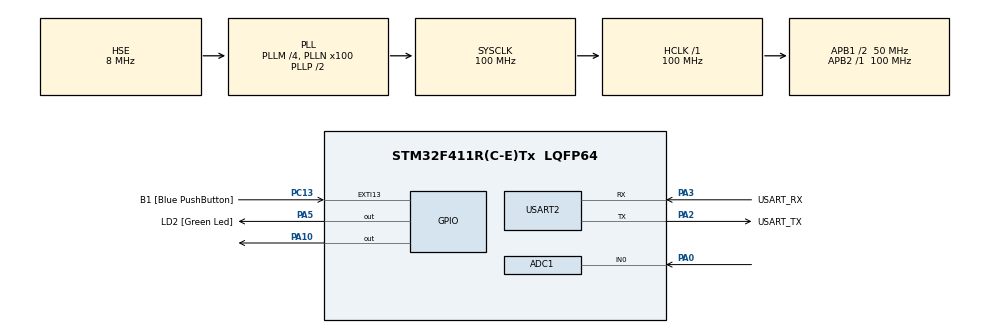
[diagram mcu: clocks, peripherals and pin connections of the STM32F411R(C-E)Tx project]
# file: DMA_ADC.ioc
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ADC1.Channel-2\#ChannelRegularConversion=ADC_CHANNEL_0
ADC1.ContinuousConvMode=ENABLE
ADC1.DMAContinuousRequests=ENABLE
ADC1.NbrOfConversionFlag=1
ADC1.Rank-2\#ChannelRegularConversion=1
ADC1.SamplingTime-2\#ChannelRegularConversion=ADC_SAMPLETIME_3CYCLES
ADC1.master=1
Dma.ADC1.1.Direction=DMA_PERIPH_TO_MEMORY
Dma.ADC1.1.FIFOMode=DMA_FIFOMODE_DISABLE
Dma.ADC1.1.Instance=DMA2_Stream0
Dma.ADC1.1.MemDataAlignment=DMA_MDATAALIGN_HALFWORD
Dma.ADC1.1.MemInc=DMA_MINC_ENABLE
Dma.ADC1.1.Mode=DMA_CIRCULAR
Dma.ADC1.1.PeriphDataAlignment=DMA_PDATAALIGN_HALFWORD
Dma.ADC1.1.PeriphInc=DMA_PINC_DISABLE
Dma.ADC1.1.Priority=DMA_PRIORITY_LOW
Dma.Request0=USART2_TX
Dma.Request1=ADC1
Dma.USART2_TX.0.Direction=DMA_MEMORY_TO_PERIPH
Dma.USART2_TX.0.FIFOMode=DMA_FIFOMODE_DISABLE
Dma.USART2_TX.0.Instance=DMA1_Stream6
Dma.USART2_TX.0.MemDataAlignment=DMA_MDATAALIGN_BYTE
Dma.USART2_TX.0.MemInc=DMA_MINC_ENABLE
Dma.USART2_TX.0.Mode=DMA_NORMAL
Dma.USART2_TX.0.PeriphDataAlignment=DMA_PDATAALIGN_BYTE
Dma.USART2_TX.0.PeriphInc=DMA_PINC_DISABLE
Dma.USART2_TX.0.Priority=DMA_PRIORITY_LOW
Mcu.Family=STM32F4
Mcu.Name=STM32F411R(C-E)Tx
Mcu.Package=LQFP64
NVIC.DMA1_Stream6_IRQn=true\:0\:0\:false\:false\:true\:false\:true\:true
NVIC.DMA2_Stream0_IRQn=true\:0\:0\:false\:false\:true\:false\:true\:true
NVIC.PriorityGroup=NVIC_PRIORITYGROUP_0
PA0-WKUP.Signal=ADCx_IN0
PA10.Signal=GPIO_Output
PA13.GPIO_Label=TMS
PA13.Mode=Serial_Wire
PA13.Signal=SYS_JTMS-SWDIO
PA14.GPIO_Label=TCK
PA14.Mode=Serial_Wire
PA14.Signal=SYS_JTCK-SWCLK
PA2.GPIO_Label=USART_TX
PA2.Mode=Asynchronous
PA2.Signal=USART2_TX
PA3.GPIO_Label=USART_RX
PA3.Mode=Asynchronous
PA3.Signal=USART2_RX
PA5.GPIO_Label=LD2 [Green Led]
PA5.Signal=GPIO_Output
PB3.GPIO_Label=SWO
PB3.Signal=SYS_JTDO-SWO
PC13-ANTI_TAMP.GPIO_Label=B1 [Blue PushButton]
PC13-ANTI_TAMP.GPIO_ModeDefaultEXTI=GPIO_MODE_IT_FALLING
PC13-ANTI_TAMP.Signal=GPXTI13
PC14-OSC32_IN.Signal=RCC_OSC32_IN
PC15-OSC32_OUT.Signal=RCC_OSC32_OUT
PH0\ -\ OSC_IN.Mode=HSE-External-Clock-Source
PH0\ -\ OSC_IN.Signal=RCC_OSC_IN
PH1\ -\ OSC_OUT.Mode=HSE-External-Clock-Source
PH1\ -\ OSC_OUT.Signal=RCC_OSC_OUT
ProjectManager.HeapSize=0x200
ProjectManager.StackSize=0x400
ProjectManager.TargetToolchain=STM32CubeIDE
RCC.48MHZClocksFreq_Value=50000000
RCC.AHBFreq_Value=100000000
RCC.APB1CLKDivider=RCC_HCLK_DIV2
RCC.APB1Freq_Value=50000000
RCC.APB1TimFreq_Value=100000000
RCC.APB2Freq_Value=100000000
RCC.APB2TimFreq_Value=100000000
RCC.CortexFreq_Value=100000000
RCC.FLatency-AdvancedSettings=FLASH_LATENCY_3
RCC.HCLKFreq_Value=100000000
RCC.HSE_VALUE=8000000
RCC.HSI_VALUE=16000000
RCC.PLLM=4
RCC.PLLN=100
RCC.PLLSourceVirtual=RCC_PLLSOURCE_HSE
RCC.SYSCLKFreq_VALUE=100000000
RCC.SYSCLKSource=RCC_SYSCLKSOURCE_PLLCLK
RCC.VCOOutputFreq_Value=200000000
SH.ADCx_IN0.0=ADC1_IN0,IN0
USART2.VirtualMode=VM_ASYNC
board=NUCLEO-F411RE

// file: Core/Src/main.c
/* USER CODE BEGIN Header */
/**
  ******************************************************************************
  * @file           : main.c
  * @brief          : Main program body
  ******************************************************************************
  * @attention
  *
  * Copyright (c) 2024 STMicroelectronics.
  * All rights reserved.
  *
  * This software is licensed under terms that can be found in the LICENSE file
  * in the root directory of this software component.
  * If no LICENSE file comes with this software, it is provided AS-IS.
  *
  ******************************************************************************
  */
/* USER CODE END Header */
#include "main.h"

/* USER CODE BEGIN Includes */

#include "string.h"
#include "stdio.h"

/* USER CODE END Includes */

/* USER CODE BEGIN PD */

#define ADC_BUF_LEN 4096

/* USER CODE END PD */

ADC_HandleTypeDef hadc1;
DMA_HandleTypeDef hdma_adc1;

UART_HandleTypeDef huart2;
DMA_HandleTypeDef hdma_usart2_tx;

/* USER CODE BEGIN PV */

uint16_t adc_buf[ADC_BUF_LEN];

/* USER CODE END PV */

void SystemClock_Config(void);
static void MX_GPIO_Init(void);
static void MX_DMA_Init(void);
static void MX_USART2_UART_Init(void);
static void MX_ADC1_Init(void);

int main(void)
{

  /* USER CODE BEGIN 1 */

	uint16_t raw;
	char msg[10];

  /* USER CODE END 1 */

  /* MCU Configuration--------------------------------------------------------*/

  /* Reset of all peripherals, Initializes the Flash interface and the Systick. */
  HAL_Init();

  /* Configure the system clock */
  SystemClock_Config();

  /* Initialize all configured peripherals */
  MX_GPIO_Init();
  MX_DMA_Init();
  MX_USART2_UART_Init();
  MX_ADC1_Init();
  /* USER CODE BEGIN 2 */

  HAL_ADC_Start_DMA(&hadc1, (uint32_t*)adc_buf, ADC_BUF_LEN);

  /* USER CODE END 2 */

  /* Infinite loop */
  while (1)
  {

    /* USER CODE BEGIN 3 */

	  HAL_GPIO_WritePin(GPIOA, GPIO_PIN_10, GPIO_PIN_SET);

	  HAL_ADC_Start(&hadc1);
	  HAL_ADC_PollForConversion(&hadc1, HAL_MAX_DELAY);
	  raw = HAL_ADC_GetValue(&hadc1);

	  HAL_GPIO_WritePin(GPIOA, GPIO_PIN_10, GPIO_PIN_RESET);

	  sprintf(msg, "%hu\r\n", raw);
	  HAL_UART_Transmit(&huart2, (uint8_t*)msg, strlen(msg), HAL_MAX_DELAY);

	  HAL_Delay(1);
  }
  /* USER CODE END 3 */
}

void SystemClock_Config(void)
{
  RCC_OscInitTypeDef RCC_OscInitStruct = {0};
  RCC_ClkInitTypeDef RCC_ClkInitStruct = {0};

  /** Configure the main internal regulator output voltage
  */
  __HAL_RCC_PWR_CLK_ENABLE();
  __HAL_PWR_VOLTAGESCALING_CONFIG(PWR_REGULATOR_VOLTAGE_SCALE1);

  /** Initializes the RCC Oscillators according to the specified parameters
  * in the RCC_OscInitTypeDef structure.
  */
  RCC_OscInitStruct.OscillatorType = RCC_OSCILLATORTYPE_HSE;
  RCC_OscInitStruct.HSEState = RCC_HSE_BYPASS;
  RCC_OscInitStruct.PLL.PLLState = RCC_PLL_ON;
  RCC_OscInitStruct.PLL.PLLSource = RCC_PLLSOURCE_HSE;
  RCC_OscInitStruct.PLL.PLLM = 4;
  RCC_OscInitStruct.PLL.PLLN = 100;
  RCC_OscInitStruct.PLL.PLLP = RCC_PLLP_DIV2;
  RCC_OscInitStruct.PLL.PLLQ = 4;
  if (HAL_RCC_OscConfig(&RCC_OscInitStruct) != HAL_OK)
  {
    Error_Handler();
  }

  /** Initializes the CPU, AHB and APB buses clocks
  */
  RCC_ClkInitStruct.ClockType = RCC_CLOCKTYPE_HCLK|RCC_CLOCKTYPE_SYSCLK
                              |RCC_CLOCKTYPE_PCLK1|RCC_CLOCKTYPE_PCLK2;
  RCC_ClkInitStruct.SYSCLKSource = RCC_SYSCLKSOURCE_PLLCLK;
  RCC_ClkInitStruct.AHBCLKDivider = RCC_SYSCLK_DIV1;
  RCC_ClkInitStruct.APB1CLKDivider = RCC_HCLK_DIV2;
  RCC_ClkInitStruct.APB2CLKDivider = RCC_HCLK_DIV1;

  if (HAL_RCC_ClockConfig(&RCC_ClkInitStruct, FLASH_LATENCY_3) != HAL_OK)
  {
    Error_Handler();
  }
}

static void MX_ADC1_Init(void)
{

  ADC_ChannelConfTypeDef sConfig = {0};

  /** Configure the global features of the ADC (Clock, Resolution, Data Alignment and number of conversion)
  */
  hadc1.Instance = ADC1;
  hadc1.Init.ClockPrescaler = ADC_CLOCK_SYNC_PCLK_DIV4;
  hadc1.Init.Resolution = ADC_RESOLUTION_12B;
  hadc1.Init.ScanConvMode = DISABLE;
  hadc1.Init.ContinuousConvMode = ENABLE;
  hadc1.Init.DiscontinuousConvMode = DISABLE;
  hadc1.Init.ExternalTrigConvEdge = ADC_EXTERNALTRIGCONVEDGE_NONE;
  hadc1.Init.ExternalTrigConv = ADC_SOFTWARE_START;
  hadc1.Init.DataAlign = ADC_DATAALIGN_RIGHT;
  hadc1.Init.NbrOfConversion = 1;
  hadc1.Init.DMAContinuousRequests = ENABLE;
  hadc1.Init.EOCSelection = ADC_EOC_SINGLE_CONV;
  if (HAL_ADC_Init(&hadc1) != HAL_OK)
  {
    Error_Handler();
  }

  /** Configure for the selected ADC regular channel its corresponding rank in the sequencer and its sample time.
  */
  sConfig.Channel = ADC_CHANNEL_0;
  sConfig.Rank = 1;
  sConfig.SamplingTime = ADC_SAMPLETIME_3CYCLES;
  if (HAL_ADC_ConfigChannel(&hadc1, &sConfig) != HAL_OK)
  {
    Error_Handler();
  }

}

static void MX_USART2_UART_Init(void)
{

  huart2.Instance = USART2;
  huart2.Init.BaudRate = 115200;
  huart2.Init.WordLength = UART_WORDLENGTH_8B;
  huart2.Init.StopBits = UART_STOPBITS_1;
  huart2.Init.Parity = UART_PARITY_NONE;
  huart2.Init.Mode = UART_MODE_TX_RX;
  huart2.Init.HwFlowCtl = UART_HWCONTROL_NONE;
  huart2.Init.OverSampling = UART_OVERSAMPLING_16;
  if (HAL_UART_Init(&huart2) != HAL_OK)
  {
    Error_Handler();
  }

}

static void MX_DMA_Init(void)
{

  /* DMA controller clock enable */
  __HAL_RCC_DMA1_CLK_ENABLE();
  __HAL_RCC_DMA2_CLK_ENABLE();

  /* DMA interrupt init */
  /* DMA1_Stream6_IRQn interrupt configuration */
  HAL_NVIC_SetPriority(DMA1_Stream6_IRQn, 0, 0);
  HAL_NVIC_EnableIRQ(DMA1_Stream6_IRQn);
  /* DMA2_Stream0_IRQn interrupt configuration */
  HAL_NVIC_SetPriority(DMA2_Stream0_IRQn, 0, 0);
  HAL_NVIC_EnableIRQ(DMA2_Stream0_IRQn);

}

static void MX_GPIO_Init(void)
{
  GPIO_InitTypeDef GPIO_InitStruct = {0};

  /* GPIO Ports Clock Enable */
  __HAL_RCC_GPIOC_CLK_ENABLE();
  __HAL_RCC_GPIOH_CLK_ENABLE();
  __HAL_RCC_GPIOA_CLK_ENABLE();
  __HAL_RCC_GPIOB_CLK_ENABLE();

  /*Configure GPIO pin Output Level */
  HAL_GPIO_WritePin(GPIOA, LD2_Pin|GPIO_PIN_10, GPIO_PIN_RESET);

  /*Configure GPIO pin : B1_Pin */
  GPIO_InitStruct.Pin = B1_Pin;
  GPIO_InitStruct.Mode = GPIO_MODE_IT_FALLING;
  GPIO_InitStruct.Pull = GPIO_NOPULL;
  HAL_GPIO_Init(B1_GPIO_Port, &GPIO_InitStruct);

  /*Configure GPIO pins : LD2_Pin PA10 */
  GPIO_InitStruct.Pin = LD2_Pin|GPIO_PIN_10;
  GPIO_InitStruct.Mode = GPIO_MODE_OUTPUT_PP;
  GPIO_InitStruct.Pull = GPIO_NOPULL;
  GPIO_InitStruct.Speed = GPIO_SPEED_FREQ_LOW;
  HAL_GPIO_Init(GPIOA, &GPIO_InitStruct);

}

/* USER CODE BEGIN 4 */

// Called when buf is half filled
void HAL_ADC_ConvHalfCpltCallback(ADC_HandleTypeDef* hadc) {
	HAL_GPIO_WritePin(GPIOA, LD2_Pin, GPIO_PIN_SET);
}

// Called when buf is filled
void HAL_ADC_ConvCpltCallback(ADC_HandleTypeDef* hadc) {
	HAL_GPIO_WritePin(GPIOA, LD2_Pin, GPIO_PIN_RESET);
}

/* USER CODE END 4 */

void Error_Handler(void)
{
  __disable_irq();
  while (1)
  {
  }
}
